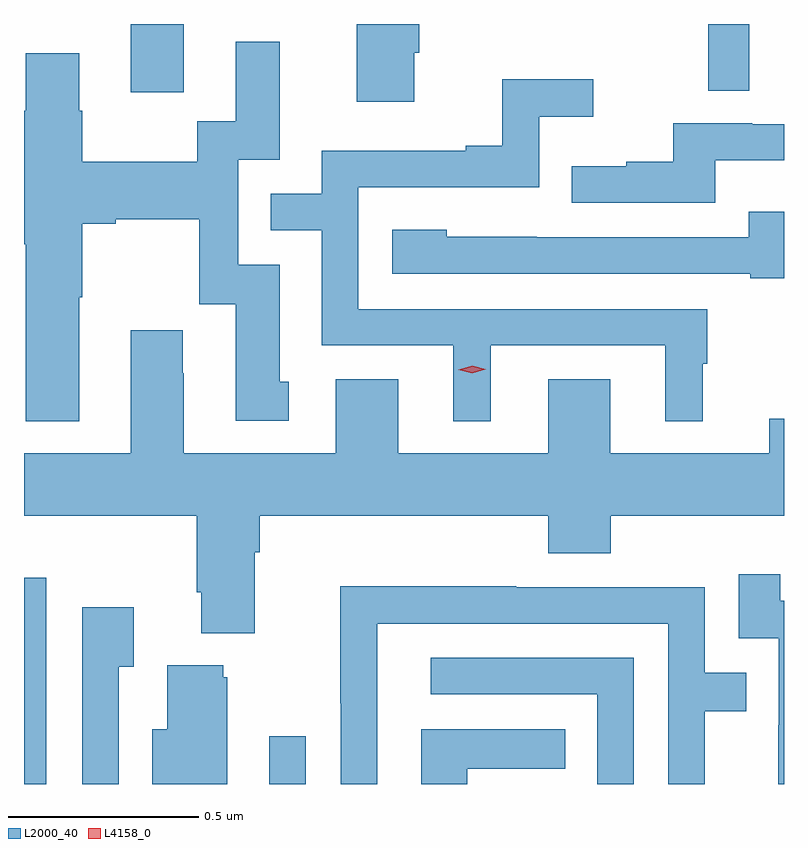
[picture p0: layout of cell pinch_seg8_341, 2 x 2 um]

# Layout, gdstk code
import gdstk
lib = gdstk.Library(unit=1e-6, precision=1e-09)
def R(c, l, rs):  # rectangles x0, y0, x1, y1
    for r in rs: c.add(gdstk.rectangle(r[:2], r[2:], *l))
def P(c, l, *ps):  # polygons
    for p in ps: c.add(gdstk.Polygon(p, *l))
L2000_40 = (2000, 40)
L4158_0 = (4158, 0)

pinch_seg8_341 = lib.new_cell('pinch_seg8_341')
R(pinch_seg8_341, L2000_40, [(447.366,1129.114,447.424,1129.657), (448.011,1129.114,448.107,1129.24), (447.647,1130.934,447.787,1131.114), (449.166,1130.938,449.274,1131.114)])
P(pinch_seg8_341, L2000_40, [(448.393,1131.039),(448.406,1131.039),(448.406,1131.114),(448.241,1131.114),(448.241,1130.91),(448.393,1130.91)],
  [(447.511,1130.395),(447.519,1130.395),(447.519,1130.588),(447.607,1130.588),(447.607,1130.6),(447.827,1130.6),(447.827,1130.376),(447.923,1130.376),(447.923,1130.07),(448.063,1130.07),(448.063,1130.172),(448.039,1130.172),(448.039,1130.481),(447.93,1130.481),(447.93,1130.757),(448.039,1130.757),(448.039,1131.067),(447.923,1131.067),(447.923,1130.858),(447.822,1130.858),(447.822,1130.752),(447.519,1130.752),(447.519,1130.886),(447.511,1130.886),(447.511,1131.037),(447.371,1131.037),(447.371,1130.886),(447.366,1130.886),(447.366,1130.534),(447.371,1130.534),(447.371,1130.069),(447.511,1130.069)],
  [(448.594,1130.268),(449.054,1130.268),(449.054,1130.069),(449.152,1130.069),(449.152,1130.22),(449.164,1130.22),(449.164,1130.364),(448.245,1130.364),(448.245,1130.685),(448.722,1130.685),(448.722,1130.87),(448.864,1130.87),(448.864,1130.969),(448.624,1130.969),(448.624,1130.794),(448.529,1130.794),(448.529,1130.781),(448.149,1130.781),(448.149,1130.667),(448.015,1130.667),(448.015,1130.571),(448.149,1130.571),(448.149,1130.268),(448.496,1130.268),(448.496,1130.069),(448.594,1130.069)],
  [(449.185,1130.756),(449.366,1130.756),(449.366,1130.85),(449.282,1130.85),(449.282,1130.853),(449.075,1130.853),(449.075,1130.752),(448.951,1130.752),(448.951,1130.74),(448.807,1130.74),(448.807,1130.643),(449.185,1130.643)],
  [(449.366,1130.62),(449.273,1130.62),(449.273,1130.553),(448.715,1130.553),(448.715,1130.554),(448.479,1130.554),(448.479,1130.572),(448.335,1130.572),(448.335,1130.457),(449.277,1130.457),(449.277,1130.445),(449.366,1130.445)],
  [(447.787,1130.195),(447.784,1130.195),(447.784,1130.308),(447.647,1130.308),(447.647,1129.984),(447.366,1129.984),(447.366,1129.82),(447.821,1129.82),(447.821,1129.618),(447.833,1129.618),(447.833,1129.511),(447.973,1129.511),(447.973,1129.724),(447.986,1129.724),(447.986,1129.82),(448.745,1129.82),(448.745,1129.721),(448.91,1129.721),(448.91,1129.82),(449.366,1129.82),(449.366,1130.075),(449.327,1130.075),(449.327,1129.984),(448.909,1129.984),(448.909,1130.179),(448.745,1130.179),(448.745,1129.984),(448.351,1129.984),(448.351,1130.179),(448.187,1130.179),(448.187,1129.984),(447.787,1129.984)],
  [(449.366,1129.596),(449.356,1129.596),(449.356,1129.666),(449.247,1129.666),(449.247,1129.497),(449.352,1129.497),(449.352,1129.268),(449.351,1129.268),(449.351,1129.114),(449.366,1129.114)],
  [(448.296,1129.536),(449.061,1129.536),(449.061,1129.114),(449.157,1129.114),(449.157,1129.306),(449.267,1129.306),(449.267,1129.407),(449.157,1129.407),(449.157,1129.632),(448.661,1129.632),(448.661,1129.634),(448.198,1129.634),(448.198,1129.327),(448.2,1129.327),(448.2,1129.114),(448.296,1129.114)],
  [(447.615,1129.423),(447.655,1129.423),(447.655,1129.579),(447.519,1129.579),(447.519,1129.114),(447.615,1129.114)],
  [(448.971,1129.446),(448.437,1129.446),(448.437,1129.35),(448.875,1129.35),(448.875,1129.114),(448.971,1129.114)],
  [(447.901,1129.395),(447.89,1129.395),(447.89,1129.426),(447.743,1129.426),(447.743,1129.258),(447.704,1129.258),(447.704,1129.114),(447.901,1129.114)],
  [(448.533,1129.154),(448.79,1129.154),(448.79,1129.258),(448.412,1129.258),(448.412,1129.114),(448.533,1129.114)])
P(pinch_seg8_341, L4158_0, [(448.545,1130.195),(448.509,1130.204),(448.509,1130.204),(448.509,1130.204),(448.545,1130.215),(448.581,1130.206),(448.581,1130.206),(448.581,1130.206)])

lib.write_gds('pinch_seg8_341.gds')
